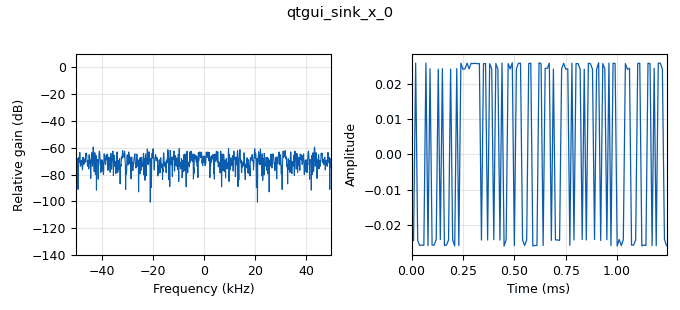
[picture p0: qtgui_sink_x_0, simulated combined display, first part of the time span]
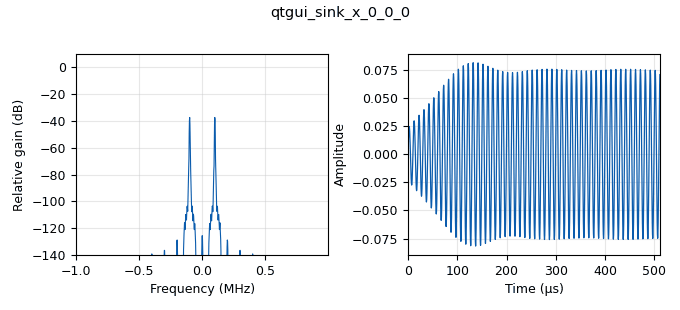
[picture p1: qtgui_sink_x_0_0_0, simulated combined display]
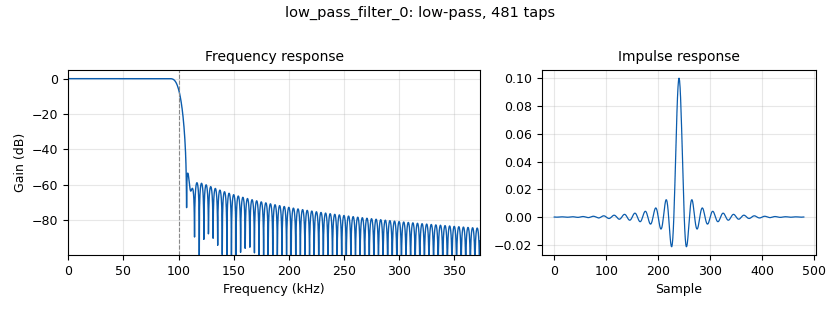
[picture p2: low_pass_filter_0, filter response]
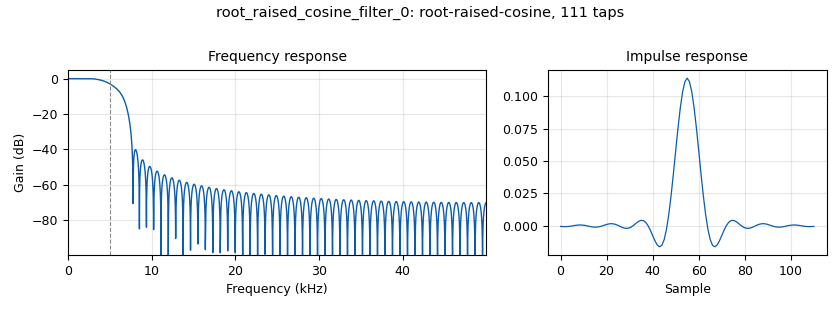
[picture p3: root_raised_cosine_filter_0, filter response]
options:
  parameters:
    generate_options: qt_gui
    id: lab92
    output_language: python
    title: lab92
  states: {}

blocks:
- name: analog_random_source_x_0
  id: analog_random_source_x
  parameters:
    max: '2'
    min: '0'
    num_samps: '1000'
    repeat: 'True'
    type: byte
  states: {}
- name: analog_sig_source_x_0
  id: analog_sig_source_x
  parameters:
    amp: '1'
    freq: '100000'
    offset: '0'
    phase: '0'
    samp_rate: '2000000'
    type: float
    waveform: analog.GR_COS_WAVE
  states: {}
- name: analog_sig_source_x_0_0
  id: analog_sig_source_x
  parameters:
    amp: '1'
    freq: '100000'
    offset: '0'
    phase: '0'
    samp_rate: '2000000'
    type: float
    waveform: analog.GR_COS_WAVE
  states: {}
- name: blocks_add_xx_0
  id: blocks_add_xx
  parameters:
    type: float
  states: {}
- name: blocks_add_xx_1
  id: blocks_add_xx
  parameters:
    type: float
  states: {}
- name: blocks_add_xx_2
  id: blocks_add_xx
  parameters:
    type: float
  states: {}
- name: blocks_add_xx_3
  id: blocks_add_xx
  parameters:
    type: float
  states: {}
- name: blocks_add_xx_5
  id: blocks_add_xx
  parameters:
    type: float
  states: {}
- name: blocks_complex_to_real_0
  id: blocks_complex_to_real
  parameters: {}
  states: {}
- name: blocks_delay_0
  id: blocks_delay
  parameters:
    delay: '200'
    type: float
  states: {}
- name: blocks_delay_0_0
  id: blocks_delay
  parameters:
    delay: '1'
    type: float
  states: {}
- name: blocks_delay_0_0_0
  id: blocks_delay
  parameters:
    delay: '1'
    type: float
  states: {}
- name: blocks_delay_0_0_1
  id: blocks_delay
  parameters:
    delay: '1'
    type: float
  states: {}
- name: blocks_delay_0_0_2
  id: blocks_delay
  parameters:
    delay: '1'
    type: float
  states: {}
- name: blocks_multiply_const_vxx_0
  id: blocks_multiply_const_vxx
  parameters:
    const: '0.5'
    type: float
  states: {}
- name: blocks_multiply_const_vxx_0_0
  id: blocks_multiply_const_vxx
  parameters:
    const: '-0.5'
    type: float
  states: {}
- name: blocks_multiply_const_vxx_0_0_0
  id: blocks_multiply_const_vxx
  parameters:
    const: '-0.5'
    type: float
  states: {}
- name: blocks_multiply_const_vxx_0_0_1
  id: blocks_multiply_const_vxx
  parameters:
    const: '-0.5'
    type: float
  states: {}
- name: blocks_multiply_const_vxx_0_0_2
  id: blocks_multiply_const_vxx
  parameters:
    const: '-0.5'
    type: float
  states: {}
- name: blocks_multiply_xx_0
  id: blocks_multiply_xx
  parameters:
    type: float
  states: {}
- name: blocks_multiply_xx_0_0
  id: blocks_multiply_xx
  parameters:
    type: float
  states: {}
- name: blocks_throttle_0_0_0
  id: blocks_throttle
  parameters:
    samples_per_second: '2000000'
    type: float
  states: {}
- name: digital_chunks_to_symbols_xx_0
  id: digital_chunks_to_symbols_xx
  parameters:
    dimension: '1'
    in_type: byte
    out_type: complex
    symbol_table: (-0.5, 0.5)
  states: {}
- name: fir_filter_xxx_0
  id: fir_filter_xxx
  parameters:
    decim: '10'
    taps: '1'
    type: fff
  states: {}
- name: interp_fir_filter_xxx_0
  id: interp_fir_filter_xxx
  parameters:
    interp: '10'
    taps: '1'
    type: ccc
  states: {}
- name: low_pass_filter_0
  id: low_pass_filter
  parameters:
    cutoff_freq: '100000'
    gain: '1'
    interp: '1'
    samp_rate: '2000000'
    type: interp_fir_filter_fff
    width: '10000'
    win: window.WIN_HAMMING
  states: {}
- name: qtgui_sink_x_0
  id: qtgui_sink_x
  parameters:
    bw: '100000'
    fc: '0'
    fftsize: '1024'
    type: float
  states: {}
- name: qtgui_sink_x_0_0_0
  id: qtgui_sink_x
  parameters:
    bw: '2000000'
    fc: '0'
    fftsize: '1024'
    type: float
  states: {}
- name: rational_resampler_xxx_0
  id: rational_resampler_xxx
  parameters:
    decim: '1'
    interp: '20'
    type: ccc
  states: {}
- name: rational_resampler_xxx_1
  id: rational_resampler_xxx
  parameters:
    decim: '20'
    interp: '1'
    type: fff
  states: {}
- name: root_raised_cosine_filter_0
  id: root_raised_cosine_filter
  parameters:
    alpha: '0.5'
    gain: '1'
    interp: '1'
    ntaps: '110'
    samp_rate: '100000'
    sym_rate: '10000'
    type: interp_fir_filter_ccf
  states: {}
- name: root_raised_cosine_filter_0_0
  id: root_raised_cosine_filter
  parameters:
    alpha: '0.5'
    decim: '1'
    gain: '1'
    ntaps: '110'
    samp_rate: '100000'
    sym_rate: '10000'
    type: fir_filter_fff
  states: {}

connections:
- [analog_random_source_x_0, '0', digital_chunks_to_symbols_xx_0, '0']
- [analog_sig_source_x_0, '0', blocks_multiply_xx_0, '1']
- [analog_sig_source_x_0_0, '0', blocks_multiply_xx_0_0, '1']
- [blocks_add_xx_0, '0', blocks_multiply_xx_0_0, '0']
- [blocks_add_xx_0, '0', blocks_throttle_0_0_0, '0']
- [blocks_add_xx_1, '0', blocks_add_xx_2, '1']
- [blocks_add_xx_2, '0', blocks_add_xx_3, '1']
- [blocks_add_xx_3, '0', blocks_add_xx_5, '1']
- [blocks_add_xx_5, '0', qtgui_sink_x_0, '0']
- [blocks_complex_to_real_0, '0', blocks_multiply_xx_0, '0']
- [blocks_delay_0, '0', blocks_multiply_const_vxx_0, '0']
- [blocks_delay_0_0, '0', blocks_multiply_const_vxx_0_0, '0']
- [blocks_delay_0_0_0, '0', blocks_multiply_const_vxx_0_0_0, '0']
- [blocks_delay_0_0_1, '0', blocks_multiply_const_vxx_0_0_1, '0']
- [blocks_delay_0_0_2, '0', blocks_multiply_const_vxx_0_0_2, '0']
- [blocks_multiply_const_vxx_0, '0', blocks_add_xx_0, '0']
- [blocks_multiply_const_vxx_0_0, '0', blocks_add_xx_1, '0']
- [blocks_multiply_const_vxx_0_0, '0', blocks_delay_0_0_2, '0']
- [blocks_multiply_const_vxx_0_0_0, '0', blocks_add_xx_5, '0']
- [blocks_multiply_const_vxx_0_0_1, '0', blocks_add_xx_3, '0']
- [blocks_multiply_const_vxx_0_0_1, '0', blocks_delay_0_0_0, '0']
- [blocks_multiply_const_vxx_0_0_2, '0', blocks_add_xx_2, '0']
- [blocks_multiply_const_vxx_0_0_2, '0', blocks_delay_0_0_1, '0']
- [blocks_multiply_xx_0, '0', blocks_add_xx_0, '1']
- [blocks_multiply_xx_0, '0', blocks_delay_0, '0']
- [blocks_multiply_xx_0_0, '0', low_pass_filter_0, '0']
- [blocks_throttle_0_0_0, '0', qtgui_sink_x_0_0_0, '0']
- [digital_chunks_to_symbols_xx_0, '0', interp_fir_filter_xxx_0, '0']
- [fir_filter_xxx_0, '0', blocks_add_xx_1, '1']
- [fir_filter_xxx_0, '0', blocks_delay_0_0, '0']
- [interp_fir_filter_xxx_0, '0', root_raised_cosine_filter_0, '0']
- [low_pass_filter_0, '0', rational_resampler_xxx_1, '0']
- [rational_resampler_xxx_0, '0', blocks_complex_to_real_0, '0']
- [rational_resampler_xxx_1, '0', root_raised_cosine_filter_0_0, '0']
- [root_raised_cosine_filter_0, '0', rational_resampler_xxx_0, '0']
- [root_raised_cosine_filter_0_0, '0', fir_filter_xxx_0, '0']

metadata:
  file_format: 1
